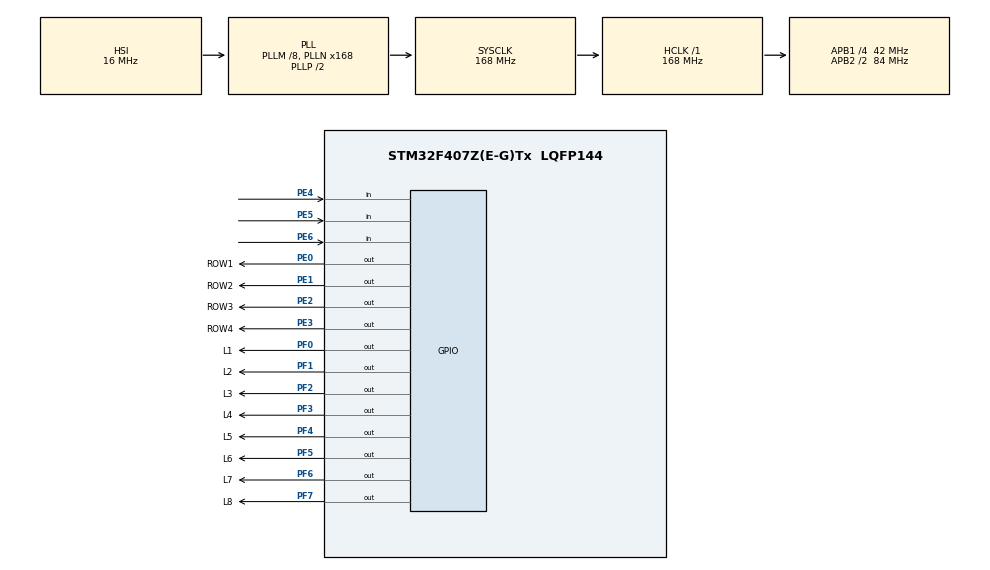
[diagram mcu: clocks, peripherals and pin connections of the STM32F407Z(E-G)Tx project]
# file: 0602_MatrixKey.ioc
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Mcu.Family=STM32F4
Mcu.Name=STM32F407Z(E-G)Tx
Mcu.Package=LQFP144
NVIC.PriorityGroup=NVIC_PRIORITYGROUP_4
PA13.Mode=Serial_Wire
PA13.Signal=SYS_JTMS-SWDIO
PA14.Mode=Serial_Wire
PA14.Signal=SYS_JTCK-SWCLK
PE0.GPIO_Label=ROW1
PE0.Signal=GPIO_Output
PE1.GPIO_Label=ROW2
PE1.Signal=GPIO_Output
PE2.GPIO_Label=ROW3
PE2.Signal=GPIO_Output
PE3.GPIO_Label=ROW4
PE3.Signal=GPIO_Output
PE4.GPIO_Pull=GPIO_PULLUP
PE4.Signal=GPIO_Input
PE5.GPIO_Pull=GPIO_PULLUP
PE5.Signal=GPIO_Input
PE6.GPIO_Pull=GPIO_PULLUP
PE6.Signal=GPIO_Input
PF0.GPIO_Label=L1
PF0.Signal=GPIO_Output
PF1.GPIO_Label=L2
PF1.Signal=GPIO_Output
PF2.GPIO_Label=L3
PF2.Signal=GPIO_Output
PF3.GPIO_Label=L4
PF3.Signal=GPIO_Output
PF4.GPIO_Label=L5
PF4.Signal=GPIO_Output
PF5.GPIO_Label=L6
PF5.Signal=GPIO_Output
PF6.GPIO_Label=L7
PF6.Signal=GPIO_Output
PF7.GPIO_Label=L8
PF7.Signal=GPIO_Output
ProjectManager.HeapSize=0x200
ProjectManager.StackSize=0x400
ProjectManager.TargetToolchain=MDK-ARM V5
RCC.48MHZClocksFreq_Value=84000000
RCC.AHBFreq_Value=168000000
RCC.APB1CLKDivider=RCC_HCLK_DIV4
RCC.APB1Freq_Value=42000000
RCC.APB1TimFreq_Value=84000000
RCC.APB2CLKDivider=RCC_HCLK_DIV2
RCC.APB2Freq_Value=84000000
RCC.APB2TimFreq_Value=168000000
RCC.CortexFreq_Value=168000000
RCC.HCLKFreq_Value=168000000
RCC.HSE_VALUE=25000000
RCC.HSI_VALUE=16000000
RCC.PLLM=8
RCC.PLLN=168
RCC.SYSCLKFreq_VALUE=168000000
RCC.SYSCLKSource=RCC_SYSCLKSOURCE_PLLCLK
RCC.VCOOutputFreq_Value=336000000
board=custom

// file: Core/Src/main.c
/* USER CODE BEGIN Header */
/**
  ******************************************************************************
  * @file           : main.c
  * @brief          : Main program body
  ******************************************************************************
  * @attention
  *
  * Copyright (c) 2026 STMicroelectronics.
  * All rights reserved.
  *
  * This software is licensed under terms that can be found in the LICENSE file
  * in the root directory of this software component.
  * If no LICENSE file comes with this software, it is provided AS-IS.
  *
  ******************************************************************************
  */
/* USER CODE END Header */
#include "main.h"
#include "gpio.h"

void SystemClock_Config(void);

/* USER CODE BEGIN 0 */

/* 行引脚：PE0~PE3 */
static const uint16_t RowPins[4] = {GPIO_PIN_0, GPIO_PIN_1, GPIO_PIN_2, GPIO_PIN_3};
/* 列引脚：PE4~PE6 */
static const uint16_t ColPins[3] = {GPIO_PIN_4, GPIO_PIN_5, GPIO_PIN_6};

/* 键值表：4 行 × 3 列（10 表示 '*'，11 表示 '#'）
 *   行0(PE0): 1  2  3
 *   行1(PE1): 4  5  6
 *   行2(PE2): 7  8  9
 *   行3(PE3): *  0  #
 */
static const uint8_t KeyMap[4][3] = {
  {1, 2, 3},
  {4, 5, 6},
  {7, 8, 9},
  {10, 0, 11},
};

/**
  * @brief  矩阵键盘扫描（逐行扫描法）。
  * @retval 返回按下的键值 0~11（10='*'，11='#'），无按键返回 0xFF。
  */
uint8_t MatrixKey_Scan(void)
{
  uint8_t row, col;

  for (row = 0; row < 4; row++)
  {
    /* 先把所有行拉高，再把当前行拉低 */
    HAL_GPIO_WritePin(KEY_GPIO_Port, KEY_ROW_Pin, GPIO_PIN_SET);
    HAL_GPIO_WritePin(KEY_GPIO_Port, RowPins[row], GPIO_PIN_RESET);

    /* 依次读取 3 列，读到低电平说明该行列交叉处的按键被按下 */
    for (col = 0; col < 3; col++)
    {
      if (HAL_GPIO_ReadPin(KEY_GPIO_Port, ColPins[col]) == GPIO_PIN_RESET)
      {
        HAL_Delay(10);  /* 消抖 */
        if (HAL_GPIO_ReadPin(KEY_GPIO_Port, ColPins[col]) == GPIO_PIN_RESET)
        {

          while (HAL_GPIO_ReadPin(KEY_GPIO_Port, ColPins[col]) == GPIO_PIN_RESET)
          {
          }
          return KeyMap[row][col];
        }
      }
    }
  }
  return 0xFF;
}

/**
  * @brief
  *
  * @param
  */
void LED_ShowValue(uint8_t val)
{
  HAL_GPIO_WritePin(GPIOF, LED_ALL_Pin, GPIO_PIN_SET);
  HAL_GPIO_WritePin(GPIOF, val & 0xFF, GPIO_PIN_RESET);

/* USER CODE END 0 */

int main(void)
{

  /* MCU Configuration--------------------------------------------------------*/

  /* Reset of all peripherals, Initializes the Flash interface and the Systick. */
  HAL_Init();

  /* Configure the system clock */
  SystemClock_Config();

  /* Initialize all configured peripherals */
  MX_GPIO_Init();

  /* Infinite loop */
  while (1)
  {

    /* USER CODE BEGIN 3 */
    uint8_t key;

    key = MatrixKey_Scan();
    if (key != 0xFF)
    {
      LED_ShowValue(key);
    }
  }
  /* USER CODE END 3 */
}

void SystemClock_Config(void)
{
  RCC_OscInitTypeDef RCC_OscInitStruct = {0};
  RCC_ClkInitTypeDef RCC_ClkInitStruct = {0};

  /** Configure the main internal regulator output voltage
  */
  __HAL_RCC_PWR_CLK_ENABLE();
  __HAL_PWR_VOLTAGESCALING_CONFIG(PWR_REGULATOR_VOLTAGE_SCALE1);

  /** Initializes the RCC Oscillators according to the specified parameters
  * in the RCC_OscInitTypeDef structure.
  */
  RCC_OscInitStruct.OscillatorType = RCC_OSCILLATORTYPE_HSI;
  RCC_OscInitStruct.HSIState = RCC_HSI_ON;
  RCC_OscInitStruct.HSICalibrationValue = RCC_HSICALIBRATION_DEFAULT;
  RCC_OscInitStruct.PLL.PLLState = RCC_PLL_ON;
  RCC_OscInitStruct.PLL.PLLSource = RCC_PLLSOURCE_HSI;
  RCC_OscInitStruct.PLL.PLLM = 8;
  RCC_OscInitStruct.PLL.PLLN = 168;
  RCC_OscInitStruct.PLL.PLLP = RCC_PLLP_DIV2;
  RCC_OscInitStruct.PLL.PLLQ = 4;
  if (HAL_RCC_OscConfig(&RCC_OscInitStruct) != HAL_OK)
  {
    Error_Handler();
  }

  /** Initializes the CPU, AHB and APB buses clocks
  */
  RCC_ClkInitStruct.ClockType = RCC_CLOCKTYPE_HCLK|RCC_CLOCKTYPE_SYSCLK
                              |RCC_CLOCKTYPE_PCLK1|RCC_CLOCKTYPE_PCLK2;
  RCC_ClkInitStruct.SYSCLKSource = RCC_SYSCLKSOURCE_PLLCLK;
  RCC_ClkInitStruct.AHBCLKDivider = RCC_SYSCLK_DIV1;
  RCC_ClkInitStruct.APB1CLKDivider = RCC_HCLK_DIV4;
  RCC_ClkInitStruct.APB2CLKDivider = RCC_HCLK_DIV2;

  if (HAL_RCC_ClockConfig(&RCC_ClkInitStruct, FLASH_LATENCY_5) != HAL_OK)
  {
    Error_Handler();
  }
}

void Error_Handler(void)
{
  __disable_irq();
  while (1)
  {
  }
}
